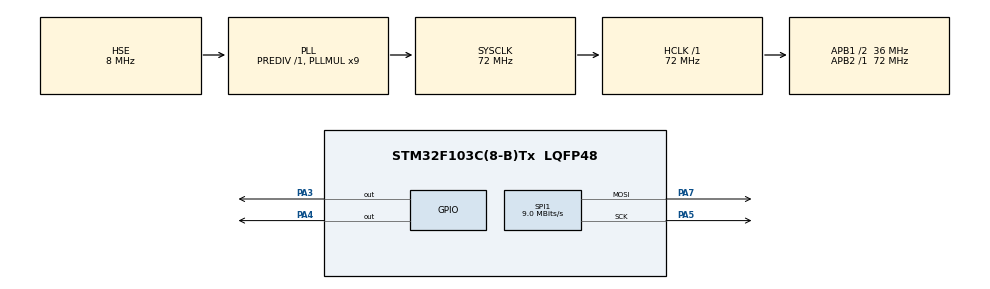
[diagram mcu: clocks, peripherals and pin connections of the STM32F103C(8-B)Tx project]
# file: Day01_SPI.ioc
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Mcu.Family=STM32F1
Mcu.Name=STM32F103C(8-B)Tx
Mcu.Package=LQFP48
NVIC.PriorityGroup=NVIC_PRIORITYGROUP_4
PA13.Mode=Serial_Wire
PA13.Signal=SYS_JTMS-SWDIO
PA14.Mode=Serial_Wire
PA14.Signal=SYS_JTCK-SWCLK
PA3.GPIO_Speed=GPIO_SPEED_FREQ_HIGH
PA3.Signal=GPIO_Output
PA4.GPIO_Speed=GPIO_SPEED_FREQ_HIGH
PA4.Signal=GPIO_Output
PA5.Mode=TX_Only_Simplex_Unidirect_Master
PA5.Signal=SPI1_SCK
PA7.Mode=TX_Only_Simplex_Unidirect_Master
PA7.Signal=SPI1_MOSI
PD0-OSC_IN.Mode=HSE-External-Oscillator
PD0-OSC_IN.Signal=RCC_OSC_IN
PD1-OSC_OUT.Mode=HSE-External-Oscillator
PD1-OSC_OUT.Signal=RCC_OSC_OUT
ProjectManager.HeapSize=0x200
ProjectManager.StackSize=0x400
ProjectManager.TargetToolchain=MDK-ARM V5
RCC.AHBFreq_Value=72000000
RCC.APB1CLKDivider=RCC_HCLK_DIV2
RCC.APB1Freq_Value=36000000
RCC.APB1TimFreq_Value=72000000
RCC.APB2Freq_Value=72000000
RCC.APB2TimFreq_Value=72000000
RCC.HCLKFreq_Value=72000000
RCC.PLLMUL=RCC_PLL_MUL9
RCC.PLLSourceVirtual=RCC_PLLSOURCE_HSE
RCC.SYSCLKFreq_VALUE=72000000
RCC.SYSCLKSource=RCC_SYSCLKSOURCE_PLLCLK
RCC.USBFreq_Value=72000000
SPI1.BaudRatePrescaler=SPI_BAUDRATEPRESCALER_8
SPI1.CalculateBaudRate=9.0 MBits/s
SPI1.Direction=SPI_DIRECTION_2LINES
SPI1.Mode=SPI_MODE_MASTER
SPI1.VirtualType=VM_MASTER
board=custom

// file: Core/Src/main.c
/* USER CODE BEGIN Header */
/**
 ******************************************************************************
 * @file           : main.c
 * @brief          : Main program body
 ******************************************************************************
 * @attention
 *
 * Copyright (c) 2023 STMicroelectronics.
 * All rights reserved.
 *
 * This software is licensed under terms that can be found in the LICENSE file
 * in the root directory of this software component.
 * If no LICENSE file comes with this software, it is provided AS-IS.
 *
 ******************************************************************************
 */
/* USER CODE END Header */
#include "main.h"
#include "spi.h"
#include "gpio.h"

/* USER CODE BEGIN Includes */
#include "MAX7219.h"
/* USER CODE END Includes */

/* USER CODE BEGIN PTD */
uint8_t disp1[38][8] = {
    {0x3C, 0x42, 0x42, 0x42, 0x42, 0x42, 0x42, 0x3C}, // 0
    {0x10, 0x18, 0x14, 0x10, 0x10, 0x10, 0x10, 0x10}, // 1
    {0x7E, 0x2, 0x2, 0x7E, 0x40, 0x40, 0x40, 0x7E},   // 2
    {0x3E, 0x2, 0x2, 0x3E, 0x2, 0x2, 0x3E, 0x0},      // 3
    {0x8, 0x18, 0x28, 0x48, 0xFE, 0x8, 0x8, 0x8},     // 4
    {0x3C, 0x20, 0x20, 0x3C, 0x4, 0x4, 0x3C, 0x0},    // 5
    {0x3C, 0x20, 0x20, 0x3C, 0x24, 0x24, 0x3C, 0x0},  // 6
    {0x3E, 0x22, 0x4, 0x8, 0x8, 0x8, 0x8, 0x8},       // 7
    {0x0, 0x3E, 0x22, 0x22, 0x3E, 0x22, 0x22, 0x3E},  // 8
    {0x3E, 0x22, 0x22, 0x3E, 0x2, 0x2, 0x2, 0x3E},    // 9
    {0x8, 0x14, 0x22, 0x3E, 0x22, 0x22, 0x22, 0x22},  // A
    {0x3C, 0x22, 0x22, 0x3E, 0x22, 0x22, 0x3C, 0x0},  // B
    {0x3C, 0x40, 0x40, 0x40, 0x40, 0x40, 0x3C, 0x0},  // C
    {0x7C, 0x42, 0x42, 0x42, 0x42, 0x42, 0x7C, 0x0},  // D
    {0x7C, 0x40, 0x40, 0x7C, 0x40, 0x40, 0x40, 0x7C}, // E
    {0x7C, 0x40, 0x40, 0x7C, 0x40, 0x40, 0x40, 0x40}, // F
    {0x3C, 0x40, 0x40, 0x40, 0x40, 0x44, 0x44, 0x3C}, // G
    {0x44, 0x44, 0x44, 0x7C, 0x44, 0x44, 0x44, 0x44}, // H
    {0x7C, 0x10, 0x10, 0x10, 0x10, 0x10, 0x10, 0x7C}, // I
    {0x3C, 0x8, 0x8, 0x8, 0x8, 0x8, 0x48, 0x30},      // J
    {0x0, 0x24, 0x28, 0x30, 0x20, 0x30, 0x28, 0x24},  // K
    {0x40, 0x40, 0x40, 0x40, 0x40, 0x40, 0x40, 0x7C}, // L
    {0x81, 0xC3, 0xA5, 0x99, 0x81, 0x81, 0x81, 0x81}, // M
    {0x0, 0x42, 0x62, 0x52, 0x4A, 0x46, 0x42, 0x0},   // N
    {0x3C, 0x42, 0x42, 0x42, 0x42, 0x42, 0x42, 0x3C}, // O
    {0x3C, 0x22, 0x22, 0x22, 0x3C, 0x20, 0x20, 0x20}, // P
    {0x1C, 0x22, 0x22, 0x22, 0x22, 0x26, 0x22, 0x1D}, // Q
    {0x3C, 0x22, 0x22, 0x22, 0x3C, 0x24, 0x22, 0x21}, // R
    {0x0, 0x1E, 0x20, 0x20, 0x3E, 0x2, 0x2, 0x3C},    // S
    {0x0, 0x3E, 0x8, 0x8, 0x8, 0x8, 0x8, 0x8},        // T
    {0x42, 0x42, 0x42, 0x42, 0x42, 0x42, 0x22, 0x1C}, // U
    {0x42, 0x42, 0x42, 0x42, 0x42, 0x42, 0x24, 0x18}, // V
    {0x0, 0x49, 0x49, 0x49, 0x49, 0x2A, 0x1C, 0x0},   // W
    {0x0, 0x41, 0x22, 0x14, 0x8, 0x14, 0x22, 0x41},   // X
    {0x41, 0x22, 0x14, 0x8, 0x8, 0x8, 0x8, 0x8},      // Y
    {0x0, 0x7F, 0x2, 0x4, 0x8, 0x10, 0x20, 0x7F},     // Z
    {0x8, 0x7F, 0x49, 0x49, 0x7F, 0x8, 0x8, 0x8},     // �?
    {0xFE, 0xBA, 0x92, 0xBA, 0x92, 0x9A, 0xBA, 0xFE}, // �?
};

/* USER CODE END PTD */

/* USER CODE BEGIN PM */
// #define ONE_SCREEN 0        // 单独一个MAX7219点阵屏
// #define TWO_SCREEN 1        // 不同CS的两个点阵屏
#define tWO_SERIES_SCREEN 2 // 串联的2个点阵屏
/* USER CODE END PM */

void SystemClock_Config(void);

int main(void)
{

  /* MCU Configuration--------------------------------------------------------*/

  /* Reset of all peripherals, Initializes the Flash interface and the Systick. */
  HAL_Init();

  /* Configure the system clock */
  SystemClock_Config();

  /* Initialize all configured peripherals */
  MX_GPIO_Init();
  MX_SPI1_Init();
  /* USER CODE BEGIN 2 */
  uint8_t i, j;

#ifdef ONE_SCREEN
  Init_MAX7219(GPIO_PIN_3);
#endif

#ifdef TWO_SCREEN
  Init_MAX7219(GPIO_PIN_3);
  Init_MAX7219(GPIO_PIN_4);
#endif

#ifdef tWO_SERIES_SCREEN
  Init_MAX7219(GPIO_PIN_4);
  Init_MAX7219(GPIO_PIN_4);
#endif

  /* USER CODE END 2 */

  /* Infinite loop */
  while (1)
  {

    /* USER CODE BEGIN 3 */

#ifdef ONE_SCREEN
  /**
   * @brief 使用1个8*8 MAX7219 点阵屏
   * SPI1_SCK     PA5
   * SPI1_MOSI    PA7
   * CS           PA4
   */
  for (j = 0; j < 38; j++)
    {
      for (i = 1; i < 9; i++)
        MX7219_Write(GPIO_PIN_4,i, disp1[j][i - 1]);
      HAL_Delay(1000);
    }
#endif

#ifdef TWO_SCREEN
  /**
   * @brief 使用2个点阵屏，不同的片选CS信号
   * SPI1_SCK     PA5
   * SPI1_MOSI    PA7
   * CS1          PA4
   * CS2          PA3
   */
  for (j = 0; j < 38; j++)
    {
      //在屏1上显示
      for (i = 1; i < 9; i++)
        MX7219_Write(GPIO_PIN_4,i, disp1[j][i - 1]);
      //在屏2上显示
      for (i = 1; i < 9; i++)
        MX7219_Write(GPIO_PIN_3,i, disp1[j][i - 1]);
      HAL_Delay(1000);
    }
#endif
#ifdef tWO_SERIES_SCREEN
   for (j = 0; j < 38; j++)
    {
      //在屏1上显示
      for (i = 1; i < 9; i++){
        MX7219_Write(GPIO_PIN_4,i, disp1[j][i - 1]);
        MX7219_Write(GPIO_PIN_4,i, disp1[j][i - 1]);
      }
      HAL_Delay(1000);
    }
#endif
  }
  /* USER CODE END 3 */
}

void SystemClock_Config(void)
{
  RCC_OscInitTypeDef RCC_OscInitStruct = {0};
  RCC_ClkInitTypeDef RCC_ClkInitStruct = {0};

  /** Initializes the RCC Oscillators according to the specified parameters
   * in the RCC_OscInitTypeDef structure.
   */
  RCC_OscInitStruct.OscillatorType = RCC_OSCILLATORTYPE_HSE;
  RCC_OscInitStruct.HSEState = RCC_HSE_ON;
  RCC_OscInitStruct.HSEPredivValue = RCC_HSE_PREDIV_DIV1;
  RCC_OscInitStruct.HSIState = RCC_HSI_ON;
  RCC_OscInitStruct.PLL.PLLState = RCC_PLL_ON;
  RCC_OscInitStruct.PLL.PLLSource = RCC_PLLSOURCE_HSE;
  RCC_OscInitStruct.PLL.PLLMUL = RCC_PLL_MUL9;
  if (HAL_RCC_OscConfig(&RCC_OscInitStruct) != HAL_OK)
  {
    Error_Handler();
  }

  /** Initializes the CPU, AHB and APB buses clocks
   */
  RCC_ClkInitStruct.ClockType = RCC_CLOCKTYPE_HCLK | RCC_CLOCKTYPE_SYSCLK | RCC_CLOCKTYPE_PCLK1 | RCC_CLOCKTYPE_PCLK2;
  RCC_ClkInitStruct.SYSCLKSource = RCC_SYSCLKSOURCE_PLLCLK;
  RCC_ClkInitStruct.AHBCLKDivider = RCC_SYSCLK_DIV1;
  RCC_ClkInitStruct.APB1CLKDivider = RCC_HCLK_DIV2;
  RCC_ClkInitStruct.APB2CLKDivider = RCC_HCLK_DIV1;

  if (HAL_RCC_ClockConfig(&RCC_ClkInitStruct, FLASH_LATENCY_2) != HAL_OK)
  {
    Error_Handler();
  }
}

void Error_Handler(void)
{
  __disable_irq();
  while (1)
  {
  }
}
